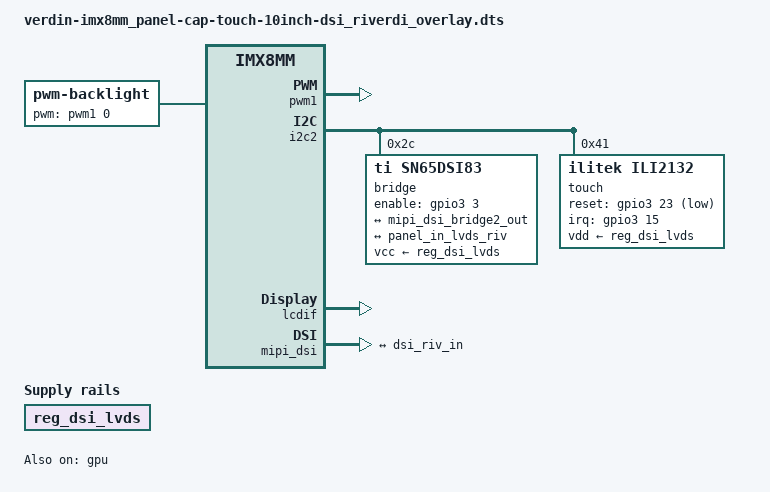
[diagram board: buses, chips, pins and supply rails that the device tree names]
// SPDX-License-Identifier: GPL-2.0-or-later OR MIT
/*
 * Copyright 2023 Toradex
 */

// Verdin with connected Capacitive Touch Display 10.1" DSI.

/dts-v1/;
/plugin/;

/ {
	compatible = "toradex,verdin-imx8mm";
};

#include <dt-bindings/interrupt-controller/arm-gic.h>
#include <dt-bindings/gpio/gpio.h>
#include "display-rvt101hvdwc00b_overlay.dtsi" 

&{/} {
	backlight: backlight-verdin-dsi {
		compatible = "pwm-backlight";
		brightness-levels = <0 45 63 88 119 158 203 255>;
		default-brightness-level = <4>;
		pwms = <&pwm1 0 6666667 0>;
		status = "okay";
	};

	reg_dsi_lvds: regulator-dsi-lvds {
		compatible = "regulator-fixed";
		enable-active-high;
		regulator-boot-on;
		/*regulator-always-on;*/
		regulator-name = "DSI_1_PWR_EN";
	};
};

&pwm1 {
	status = "okay";
};

&gpu {
	status = "okay";
};

/* Verdin I2C_2_DSI */
&i2c2 {
	#address-cells = <1>;
	#size-cells = <0>;
	status = "okay";

	bridge@2c {
		compatible = "ti,sn65dsi83";
		reg = <0x2c>;
		/* IRQ not connected */
		/* Verdin GPIO_10_DSI (SODIMM 21) */
		enable-gpios = <&gpio3 3 GPIO_ACTIVE_HIGH>;
		vcc-supply = <&reg_dsi_lvds>;
		pinctrl-names = "default";
		pinctrl-0 = <&pinctrl_gpio_10_dsi>;
   
		status = "okay";

		ports {
			#address-cells = <1>;
			#size-cells = <0>;

			port@0 {
				reg = <0>;

				dsi_riv_in: endpoint { //endpoint是插头 连接到 DSI 桥接器的输入端口也就是remote-endpoint
					data-lanes = <1 2 3 4>;
					remote-endpoint = <&mipi_dsi_bridge2_out>;//remote-endpoint是插座 
				};
			};

			port@2 {
				reg = <2>;

				lvds_out_panel_riv: endpoint {
					remote-endpoint = <&panel_in_lvds_riv>;
				};
			};
		};
	};

	touch@41 {
		compatible = "ilitek,ili2132";
		reg = <0x41>;
		/* Verdin DSI_1_INT# (TOUCH_INT#, SODIMM 17) */
		interrupt-parent = <&gpio3>;
		interrupts = <15 IRQ_TYPE_EDGE_FALLING>;
		pinctrl-names = "default";
		pinctrl-0 = <&pinctrl_gpio_9_dsi>, <&pinctrl_i2s_2_bclk_touch_reset>;
		/* Verdin I2S_2_BCLK (TOUCH_RESET#, SODIMM 42) */
		reset-gpios = <&gpio3 23 GPIO_ACTIVE_LOW>;
		touchscreen-size-x = <1280>;
		touchscreen-size-y = <800>;
		wakeup-source;
		vdd-supply = <&reg_dsi_lvds>; 
		status = "okay";
	};

};

&lcdif {
	status = "okay";
};

&mipi_dsi {
	#address-cells = <1>;
	#size-cells = <0>;
	status = "okay";

	port@1 {
		mipi_dsi_bridge2_out: endpoint {
			attach-bridge;
			remote-endpoint = <&dsi_riv_in>;
		};
	};
};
